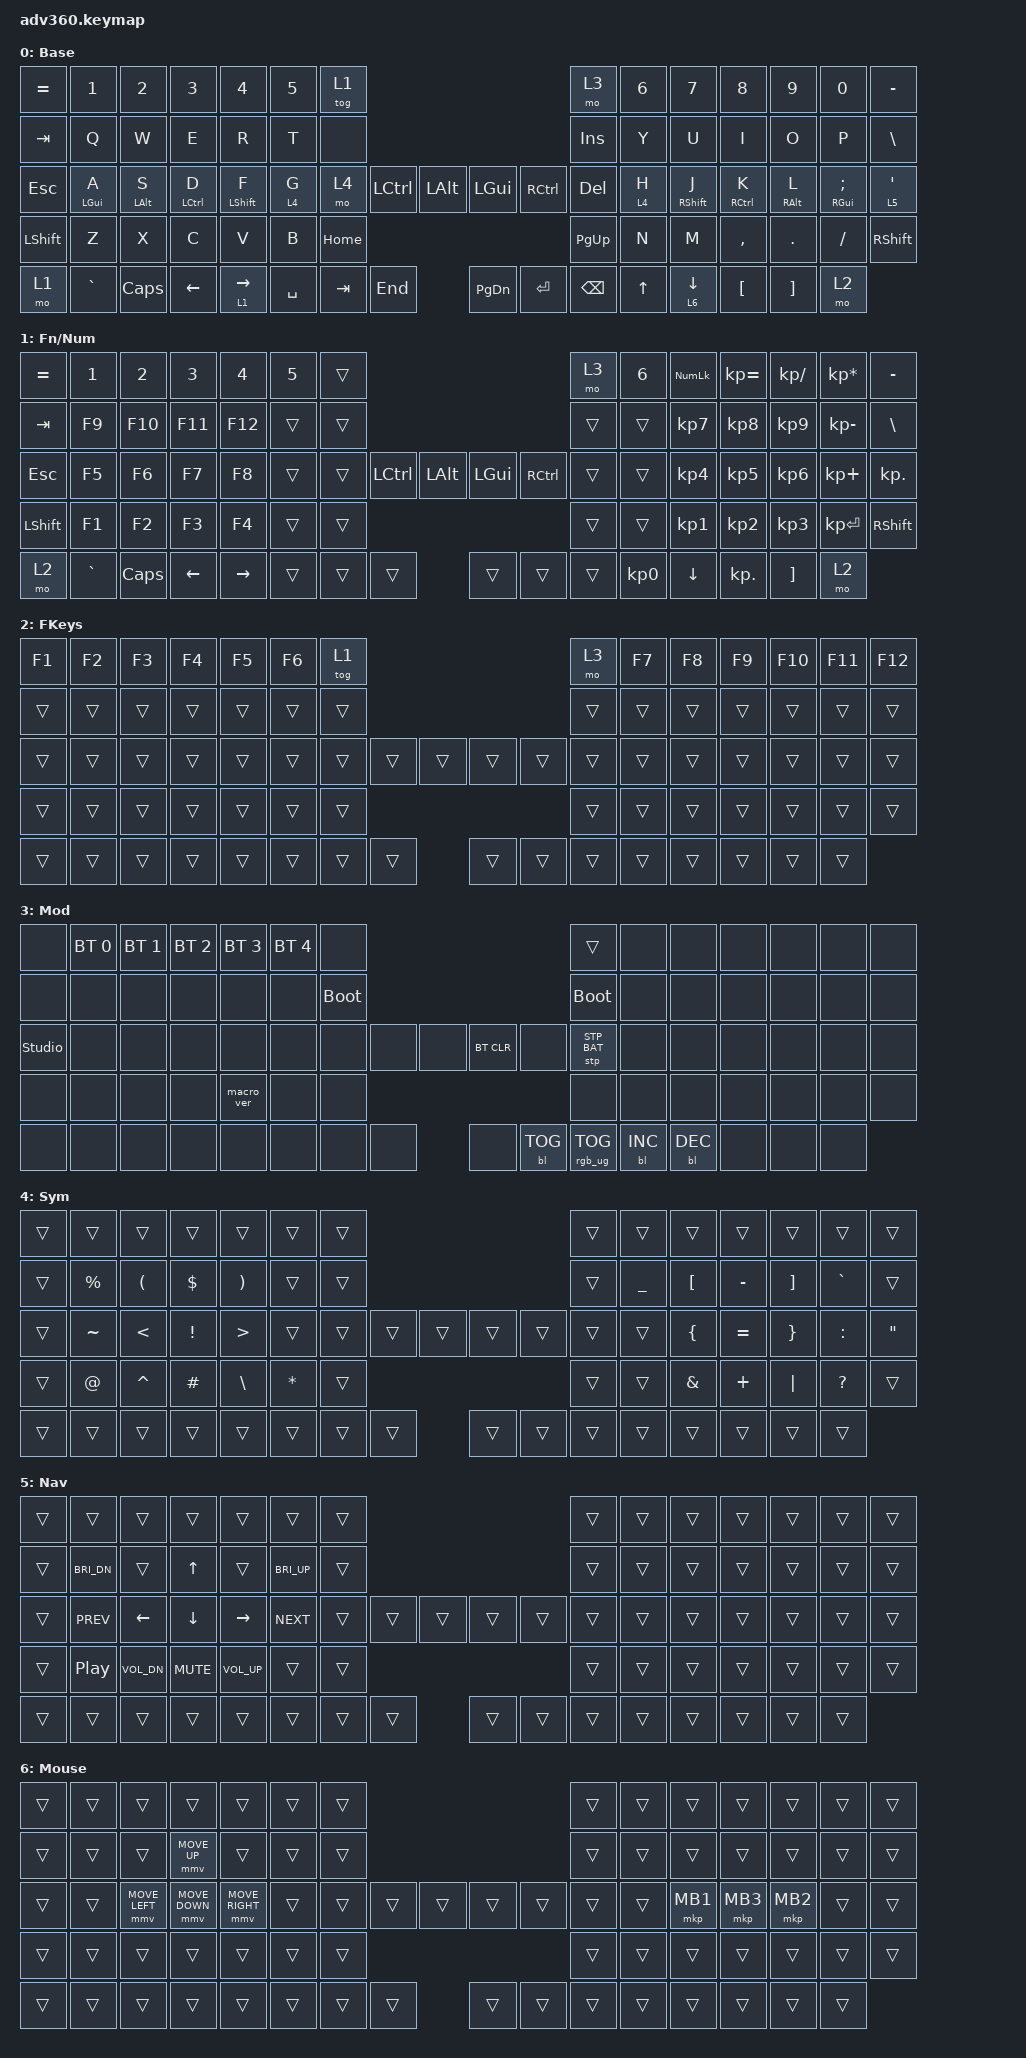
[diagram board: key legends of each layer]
#include <behaviors.dtsi>
#include <dt-bindings/zmk/keys.h>
#include <dt-bindings/zmk/bt.h>
#include <dt-bindings/zmk/rgb.h>
#include <dt-bindings/zmk/stp.h>
#include <dt-bindings/zmk/backlight.h>
#include <dt-bindings/zmk/pointing.h>

/ {
    behaviors {
      #include "macros.dtsi"
      #include "version.dtsi"

      hm: homerow_mods {
          compatible = "zmk,behavior-hold-tap";
          label = "HOMEROW_MODS";
          #binding-cells = <2>;
          require-prior-idle-ms = <250>;
          tapping-term-ms = <250>;
          quick-tap-ms = <175>;
          flavor = "tap-preferred";
          bindings = <&kp>, <&kp>;
      };
    };

  keymap {
    compatible = "zmk,keymap";

    // Layer 0 – Base
    // Homerow mods: hold A/S/D/F for GUI/Alt/Ctrl/Shift (left), J/K/L/; for Shift/Ctrl/Alt/GUI (right)
    // Layer keys: T1=toggle fn/numpad, M1=momentary fn/numpad, M2=momentary F-keys,
    //             M3=momentary system, M4=momentary symbols, M5=momentary nav, M6=momentary mouse
    default_layer {
      display-name = "Base";
      bindings = <
        &kp EQUAL  &kp N1      &kp N2      &kp N3       &kp N4      &kp N5   &tog 1                                                                   &mo 3   &kp N6   &kp N7       &kp N8       &kp N9      &kp N0    &kp MINUS
        &kp TAB    &kp Q       &kp W       &kp E        &kp R       &kp T    &none                                                                    &kp INS &kp Y    &kp U        &kp I        &kp O       &kp P     &kp BSLH
        &kp ESC    &hm LGUI A  &hm LALT S  &hm LCTRL D  &hm LSHFT F &lt 4 G &mo 4           &kp LCTRL  &kp LALT  &kp LGUI  &kp RCTRL                 &kp DEL &lt 4 H  &hm RSHFT J  &hm RCTRL K  &hm RALT L  &hm RGUI SEMI  &lt 5 SQT
        &kp LSHFT  &kp Z       &kp X       &kp C        &kp V       &kp B                              &kp HOME   &kp PG_UP                                   &kp N    &kp M        &kp COMMA    &kp DOT     &kp FSLH  &kp RSHFT
        &mo 1      &kp GRAVE   &kp CAPS    &kp LEFT     &lt 1 RIGHT              &kp SPACE  &kp TAB    &kp END    &kp PG_DN   &kp ENTER  &kp BSPC               &kp UP   &lt 6 DOWN   &kp LBKT     &kp RBKT    &mo 2
      >;
    };

    // Layer 1 – Fn / Numpad  (toggle with T1, hold with M1)
    // Left: F-keys (F1-F12 on letter rows), Right: numpad
    fn_numpad {
      display-name = "Fn/Num";
      bindings = <
        &kp EQUAL  &kp N1    &kp N2    &kp N3    &kp N4    &kp N5    &trans                                                                     &mo 3   &kp N6   &kp KP_NUM   &kp KP_EQUAL  &kp KP_DIVIDE  &kp KP_MULTIPLY  &kp MINUS
        &kp TAB    &kp F9    &kp F10   &kp F11   &kp F12   &trans    &trans                                                                     &trans  &trans   &kp KP_N7    &kp KP_N8     &kp KP_N9      &kp KP_MINUS     &kp BSLH
        &kp ESC    &kp F5    &kp F6    &kp F7    &kp F8    &trans    &trans          &kp LCTRL  &kp LALT  &kp LGUI  &kp RCTRL                   &trans  &trans   &kp KP_N4    &kp KP_N5     &kp KP_N6      &kp KP_PLUS      &kp KP_DOT
        &kp LSHFT  &kp F1    &kp F2    &kp F3    &kp F4    &trans                              &trans    &trans                                          &trans   &kp KP_N1    &kp KP_N2     &kp KP_N3      &kp KP_ENTER     &kp RSHFT
        &mo 2      &kp GRAVE &kp CAPS  &kp LEFT  &kp RIGHT              &trans    &trans    &trans    &trans     &trans    &trans                &kp KP_N0  &kp DOWN  &kp KP_DOT    &kp RBKT    &mo 2
      >;
    };

    // Layer 2 – F-Keys  (hold M2)
    // F1-F12 mapped to the number row
    fkeys {
      display-name = "FKeys";
      bindings = <
        &kp F1  &kp F2  &kp F3  &kp F4  &kp F5  &kp F6  &tog 1                                                          &mo 3  &kp F7  &kp F8  &kp F9  &kp F10  &kp F11  &kp F12
        &trans  &trans  &trans  &trans  &trans  &trans  &trans                                                            &trans &trans  &trans  &trans  &trans   &trans   &trans
        &trans  &trans  &trans  &trans  &trans  &trans  &trans          &trans  &trans  &trans  &trans                    &trans &trans  &trans  &trans  &trans   &trans   &trans
        &trans  &trans  &trans  &trans  &trans  &trans                          &trans  &trans                                   &trans  &trans  &trans  &trans   &trans   &trans
        &trans  &trans  &trans  &trans  &trans               &trans  &trans  &trans  &trans  &trans  &trans                      &trans  &trans  &trans  &trans   &trans
      >;
    };

    // Layer 3 – System / Mod  (hold M3)
    // Bluetooth profiles, bootloader, RGB, backlight
    mod {
      display-name = "Mod";
      bindings = <
        &none &bt BT_SEL 0 &bt BT_SEL 1 &bt BT_SEL 2 &bt BT_SEL 3 &bt BT_SEL 4 &none                                                                     &trans                 &none        &none        &none        &none &none &none
        &none &none        &none        &none        &none        &none        &bootloader                                                               &bootloader            &none        &none        &none        &none &none &none
        &studio_unlock &none        &none        &none        &none        &none        &none                   &none &none &bt BT_CLR &none                      &stp STP_BAT &none        &none        &none        &none &none &none
        &none &none        &none        &none        &macro_ver   &none                                      &none &none                                                        &none        &none        &none        &none &none &none
        &none &none        &none        &none        &none                                       &none &none &none &none      &bl BL_TOG &rgb_ug RGB_TOG                                     &bl BL_INC   &bl BL_DEC   &none &none &none
      >;
    };

    // Layer 4 – Symbols  (hold M4 — inner-left row3 or right-H key)
    // Left: ( $ ) ~ < ! > @ ^ # \ *   Right: - { [ ] } ~ / { = } : "  & + | ?
    symbols {
      display-name = "Sym";
      bindings = <
        &trans  &trans     &trans     &trans    &trans    &trans   &trans                                                                    &trans  &trans     &trans    &trans    &trans     &trans     &trans
        &trans  &kp PRCNT  &kp LPAR   &kp DLLR  &kp RPAR  &trans   &trans                                                                    &trans  &kp UNDER  &kp LBKT  &kp MINUS &kp RBKT   &kp GRAVE  &trans
        &trans  &kp TILDE  &kp LT     &kp EXCL  &kp GT    &trans   &trans          &trans  &trans  &trans  &trans                            &trans  &trans     &kp LBRC  &kp EQUAL &kp RBRC   &kp COLON  &kp DQT
        &trans  &kp AT     &kp CARET  &kp HASH  &kp BSLH  &kp STAR                         &trans  &trans                                           &trans     &kp AMPS  &kp PLUS  &kp PIPE   &kp QMARK  &trans
        &trans  &trans     &trans     &trans    &trans               &trans  &trans  &trans  &trans  &trans  &trans                                   &trans     &trans    &trans    &trans     &trans
      >;
    };

    // Layer 5 – Navigation  (hold M5 — apostrophe key)
    // ESDF arrows: E=Up, S=Left, D=Down, F=Right
    nav {
      display-name = "Nav";
      bindings = <
        &trans  &trans    &trans    &trans     &trans  &trans  &trans                                                          &trans  &trans  &trans  &trans  &trans  &trans  &trans
        &trans  &kp C_BRI_DN    &trans    &kp UP     &trans  &kp C_BRI_UP  &trans                                                          &trans  &trans  &trans  &trans  &trans  &trans  &trans
        &trans  &kp C_PREV    &kp LEFT  &kp DOWN &kp RIGHT &kp C_NEXT  &trans           &trans  &trans  &trans  &trans                  &trans  &trans  &trans  &trans  &trans  &trans  &trans
        &trans  &kp C_PLAY_PAUSE    &kp C_VOL_DN    &kp C_MUTE     &kp C_VOL_UP  &trans                          &trans  &trans                                  &trans  &trans  &trans  &trans  &trans  &trans
        &trans  &trans    &trans    &trans     &trans              &trans  &trans  &trans  &trans  &trans  &trans                      &trans  &trans  &trans  &trans  &trans
      >;
    };

    // Layer 6 – Mouse buttons  (hold M6 — right-bottom-row second key)
    // MB1/MB3/MB2 on K/L/; keys (right hand, easy thumb reach)
    mouse {
      display-name = "Mouse";
      bindings = <
        &trans  &trans  &trans  &trans  &trans  &trans  &trans                                                          &trans  &trans    &trans    &trans    &trans  &trans  &trans
        &trans  &trans  &trans  &mmv MOVE_UP  &trans  &trans  &trans                                                          &trans  &trans    &trans    &trans    &trans  &trans  &trans
        &trans  &trans  &mmv MOVE_LEFT  &mmv MOVE_DOWN  &mmv MOVE_RIGHT  &trans  &trans          &trans  &trans  &trans  &trans                  &trans  &trans    &mkp MB1  &mkp MB3  &mkp MB2  &trans  &trans
        &trans  &trans  &trans  &trans  &trans  &trans                          &trans  &trans                                  &trans    &trans    &trans    &trans  &trans  &trans
        &trans  &trans  &trans  &trans  &trans              &trans  &trans  &trans  &trans  &trans  &trans                      &trans    &trans    &trans    &trans  &trans
      >;
    };

  };
};
